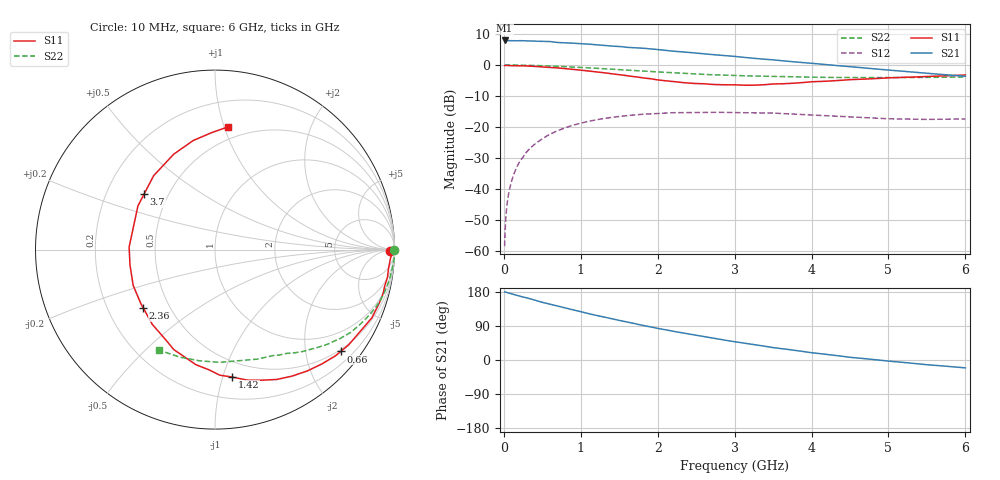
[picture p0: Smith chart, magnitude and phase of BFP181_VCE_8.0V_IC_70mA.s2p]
! Infineon Technologies  Discrete & RF Semiconductors
! BFP181
! VCE = 8.0 V,  IC =  70 mA
! Common Emitter S-Parameters:  Jan 2016
# GHz  S  MA  R  50
!  f  S11  S21  S12  S22
! GHz  MAG  ANG  MAG  ANG  MAG  ANG  MAG  ANG
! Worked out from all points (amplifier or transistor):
!   210 points, 10 MHz to 6 GHz, reference 50 ohm
!   highest |S21| = 7.9 dB at 10 MHz (marker M1)
!   |S21| within 3 dB of that: start of sweep to 2.028 GHz
!   unconditionally stable (mu >= 1): 3.569 GHz to end of sweep
!   at 185 MHz: K = 0.07, MSG = 20.0 dB, |S12| = -32.1 dB
!   at 1.52 GHz: K = 0.47, MSG = 11.2 dB, |S12| = -16.6 dB
!   at 6 GHz: K = 1.36, MAG = 3.3 dB, |S12| = -17.4 dB
!   S11 on the Smith chart (normalised r, x): 10 MHz: 70, -30; 660 MHz: 0.45, -2.76; 1.42 GHz: 0.37, -1.07; 2.36 GHz: 0.36, -0.31; 3.7 GHz: 0.37, +0.30; 6 GHz: 0.40, +1.03
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0.01  0.9762 -0.6  2.481 179.6  0.0012 90.6  0.9986 -0.2
0.015  0.9811 -1.1  2.478 179.5  0.0019 88.7  0.9947 -0.3
0.025  0.9848 -1.7  2.473 179.0  0.0033 89.4  0.9921 -0.7
0.05  0.9786 -2.9  2.467 177.2  0.0068 92.5  0.9984 -1.5
0.09  0.9735 -5.5  2.459 175.1  0.012 84.9  0.9996 -2.6
0.155  0.9727 -9.4  2.445 171.5  0.0209 82.9  0.9949 -4.4
0.34  0.9577 -20.2  2.434 161.6  0.0451 75.9  0.9859 -9.7
0.5  0.9281 -29.7  2.398 152.2  0.0645 69.3  0.9737 -14.2
0.66  0.9018 -39.0  2.331 144.1  0.0828 62.9  0.9567 -18.5
1.02  0.8196 -59.9  2.194 126.2  0.1168 49.9  0.909 -27.3
1.1  0.8011 -64.6  2.175 122.1  0.1234 47.1  0.8984 -29.1
1.42  0.7159 -82.5  2.009 108.1  0.1437 36.9  0.8505 -36.0
1.8  0.6206 -106.0  1.864 91.4  0.1602 27.4  0.7974 -42.6
2.02  0.5702 -119.3  1.761 82.8  0.166 21.9  0.7693 -46.2
2.36  0.5151 -141.0  1.612 70.2  0.1709 14.5  0.73 -51.8
2.8  0.4813 -169.7  1.443 54.7  0.1723 6.7  0.6898 -58.3
3.1  0.4725 172.7  1.333 45.3  0.17 1.9  0.6685 -62.8
3.7  0.502 141.8  1.143 27.7  0.1629 -5.0  0.6441 -72.3
4.1  0.5403 126.2  1.036 17.0  0.1543 -8.3  0.631 -79.8
4.5  0.5793 113.4  0.939 7.1  0.1458 -10.9  0.6287 -87.7
5.1  0.6246 99.3  0.807 -4.6  0.135 -10.3  0.6249 -100.1
6  0.6884 83.8  0.657 -20.8  0.1346 -5.3  0.6412 -119.3
